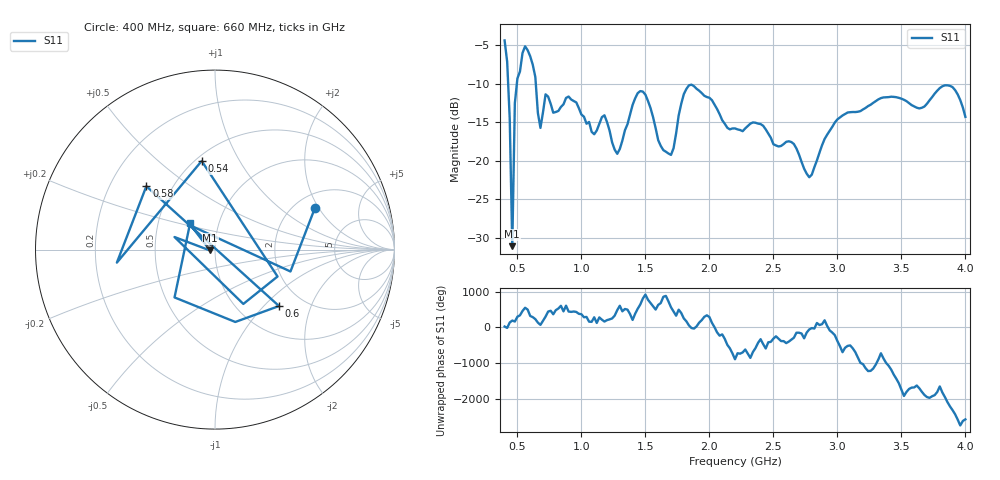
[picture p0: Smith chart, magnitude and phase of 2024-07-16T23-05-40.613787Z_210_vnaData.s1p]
!Created with skrf (http://scikit-rf.org).
# Hz S RI R 50.0
!freq ReS11 ImS11
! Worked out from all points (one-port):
!   181 points, 400 MHz to 4 GHz, reference 50 ohm
!   lowest |S11| = -31.1 dB at 460 MHz (marker M1), VSWR 1.06, Z = 47.3 - j0.469 ohm
!   |S11| at or under -10 dB: 427.7 MHz to 495.8 MHz (68.19 MHz wide, 14.8 % of centre); 643.7 MHz to end of sweep
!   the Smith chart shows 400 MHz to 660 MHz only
!   S11 on the Smith chart (normalised r, x): 400 MHz: 2.55, +1.84; 540 MHz: 0.54, +0.71; 580 MHz: 0.36, +0.35; 600 MHz: 1.51, -1.23; 660 MHz: 0.73, +0.23
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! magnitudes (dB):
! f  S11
! 400 MHz  -4.4
! 420 MHz  -7.2
! 440 MHz  -14.6
! 460 MHz  -31.1
! 480 MHz  -12.5
! 540 MHz  -6.0
! 580 MHz  -5.7
! 600 MHz  -6.5
! 640 MHz  -9.1
! 660 MHz  -13.8
! 680 MHz  -15.7
! 720 MHz  -11.4
! 860 MHz  -12.7
! 960 MHz  -12.4
! 1.1 GHz  -16.6
! 1.18 GHz  -14.1
! 1.3 GHz  -18.5
! 1.46 GHz  -11.0
! 1.68 GHz  -19.1
! 1.76 GHz  -14.1
! 1.86 GHz  -10.1
! 2.2 GHz  -15.8
! 2.66 GHz  -17.8
! 2.78 GHz  -22.1
! 3.1 GHz  -13.7
! 3.56 GHz  -12.5
! 3.88 GHz  -10.3
! 4 GHz  -14.3
